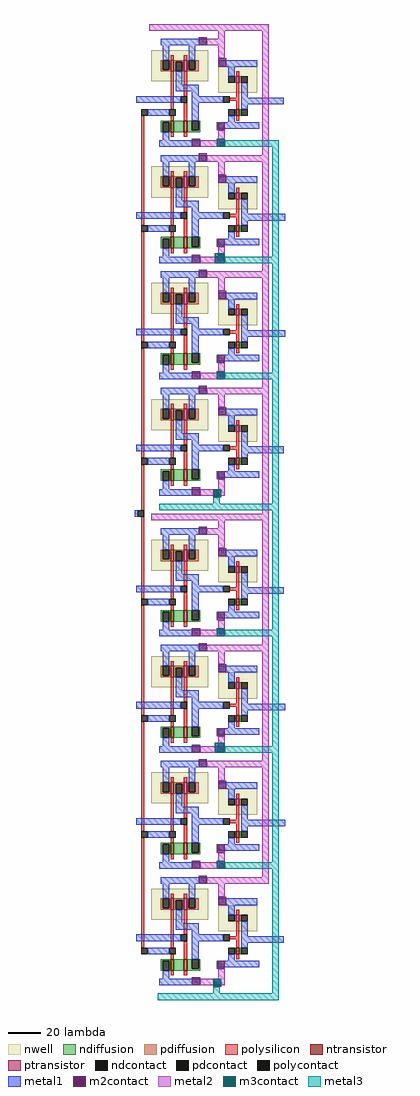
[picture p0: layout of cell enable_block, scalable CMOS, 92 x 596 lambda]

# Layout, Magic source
magic
tech scmos
<< polysilicon >>
rect -3 177 -1 244
rect -3 106 -1 173
rect -3 35 -1 102
rect -3 3 -1 31
rect -3 -51 -1 -1
rect -3 -122 -1 -55
rect -3 -193 -1 -126
rect -3 -264 -1 -197
<< polycontact >>
rect -3 244 1 248
rect -3 173 1 177
rect -3 102 1 106
rect -3 31 1 35
rect -5 -1 -1 3
rect -3 -55 1 -51
rect -3 -126 1 -122
rect -3 -197 1 -193
rect -3 -268 1 -264
<< metal1 >>
rect -6 252 8 256
rect 83 251 84 255
rect 1 244 10 248
rect -6 181 7 185
rect 84 180 85 184
rect 1 173 7 177
rect -6 110 7 114
rect 84 109 85 113
rect 1 102 11 106
rect -6 39 8 43
rect 83 38 84 42
rect 1 31 8 35
rect -7 -1 -5 3
rect -6 -47 7 -43
rect 83 -48 84 -44
rect 1 -55 8 -51
rect -6 -118 8 -114
rect 84 -119 85 -115
rect 1 -126 11 -122
rect -6 -189 8 -185
rect 84 -190 85 -186
rect 1 -197 8 -193
rect -6 -260 7 -256
rect 83 -261 84 -257
rect 1 -268 11 -264
<< metal2 >>
rect 2 296 3 300
rect 71 -4 75 78
<< metal3 >>
rect 77 -74 81 7
rect 7 -296 8 -292
use and_block  and_block_1
transform 1 0 21 0 1 -86
box -18 -210 63 87
use and_block  and_block_0
transform 1 0 21 0 1 213
box -18 -210 63 87
<< end >>

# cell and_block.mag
magic
tech scmos
<< metal1 >>
rect -14 39 -13 43
rect 49 38 62 42
rect -14 31 -13 35
rect -14 -32 -13 -28
rect 49 -33 63 -29
rect -14 -40 -13 -36
rect -14 -103 -13 -99
rect 49 -104 63 -100
rect -14 -111 -13 -107
rect -14 -174 -13 -170
rect 49 -175 62 -171
rect -14 -182 -13 -178
<< metal2 >>
rect -18 83 54 87
rect 23 75 27 83
rect 50 7 54 83
rect 23 3 54 7
rect 50 -64 54 3
rect 23 -68 54 -64
rect 50 -135 54 -68
rect 23 -139 54 -135
<< m3contact >>
rect 22 12 27 17
rect 21 -59 27 -53
rect 22 -130 27 -125
rect 20 -202 25 -197
<< metal3 >>
rect 27 12 60 16
rect 56 -55 60 12
rect 27 -59 60 -55
rect 56 -126 60 -59
rect 27 -130 60 -126
rect 20 -206 24 -202
rect 56 -206 60 -130
rect -13 -210 60 -206
use and  and_0
transform 1 0 -18 0 1 12
box 0 0 67 67
use and  and_1
transform 1 0 -18 0 1 -59
box 0 0 67 67
use and  and_2
transform 1 0 -18 0 1 -130
box 0 0 67 67
use and  and_3
transform 1 0 -18 0 1 -201
box 0 0 67 67
<< end >>

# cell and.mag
magic
tech scmos
<< metal1 >>
rect 6 62 7 66
rect 5 27 6 31
rect 28 27 41 31
rect 66 26 67 30
rect 5 19 6 23
rect 5 0 6 4
<< m2contact >>
rect 29 62 34 67
rect 41 49 46 54
rect 40 10 45 15
rect 25 0 30 5
<< metal2 >>
rect 34 62 45 66
rect 41 54 45 62
rect 41 4 45 10
rect 30 0 45 4
use nand  nand_0
transform 1 0 18 0 1 40
box -18 -40 17 26
use inverter  inverter_0
transform 1 0 73 0 1 45
box -32 -34 -7 8
<< end >>

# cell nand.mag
magic
tech scmos
<< nwell >>
rect -18 0 17 19
<< ntransistor >>
rect -6 -31 -4 -24
rect 2 -31 4 -24
<< ptransistor >>
rect -6 6 -4 13
rect 2 6 4 13
<< ndiffusion >>
rect -12 -25 -6 -24
rect -12 -31 -11 -25
rect -7 -31 -6 -25
rect -4 -31 2 -24
rect 4 -30 7 -24
rect 11 -30 12 -24
rect 4 -31 12 -30
<< pdiffusion >>
rect -12 7 -11 13
rect -7 7 -6 13
rect -12 6 -6 7
rect -4 12 2 13
rect -4 6 -3 12
rect 1 6 2 12
rect 4 7 5 13
rect 9 7 11 13
rect 4 6 11 7
<< ndcontact >>
rect -11 -31 -7 -25
rect 7 -30 11 -24
<< pdcontact >>
rect -11 7 -7 13
rect -3 6 1 12
rect 5 7 9 13
<< polysilicon >>
rect -6 13 -4 16
rect 2 13 4 16
rect -6 -17 -4 6
rect 2 -9 4 6
rect -6 -24 -4 -21
rect 2 -24 4 -13
rect -6 -34 -4 -31
rect 2 -34 4 -31
<< polycontact >>
rect 0 -13 4 -9
rect -7 -21 -3 -17
<< metal1 >>
rect -11 22 16 26
rect -11 13 -7 22
rect 5 13 9 22
rect -3 -2 1 6
rect -3 -6 11 -2
rect 7 -9 11 -6
rect -12 -13 0 -9
rect 7 -13 14 -9
rect -12 -21 -7 -17
rect 7 -24 11 -13
rect -11 -36 -7 -31
rect -12 -40 12 -36
<< end >>

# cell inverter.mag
magic
tech scmos
<< nwell >>
rect -32 -12 -8 4
<< ntransistor >>
rect -21 -26 -19 -22
<< ptransistor >>
rect -21 -6 -19 -2
<< ndiffusion >>
rect -22 -26 -21 -22
rect -19 -26 -18 -22
<< pdiffusion >>
rect -22 -6 -21 -2
rect -19 -6 -18 -2
<< ndcontact >>
rect -26 -26 -22 -22
rect -18 -26 -14 -22
<< pdcontact >>
rect -26 -6 -22 -2
rect -18 -6 -14 -2
<< polysilicon >>
rect -21 -2 -19 1
rect -21 -15 -19 -6
rect -25 -17 -19 -15
rect -21 -22 -19 -17
rect -21 -29 -19 -26
<< polycontact >>
rect -29 -18 -25 -14
<< metal1 >>
rect -32 4 -8 8
rect -26 -2 -22 4
rect -32 -18 -29 -14
rect -18 -15 -14 -6
rect -18 -19 -7 -15
rect -18 -22 -14 -19
rect -26 -30 -22 -26
rect -32 -34 -7 -30
<< end >>
